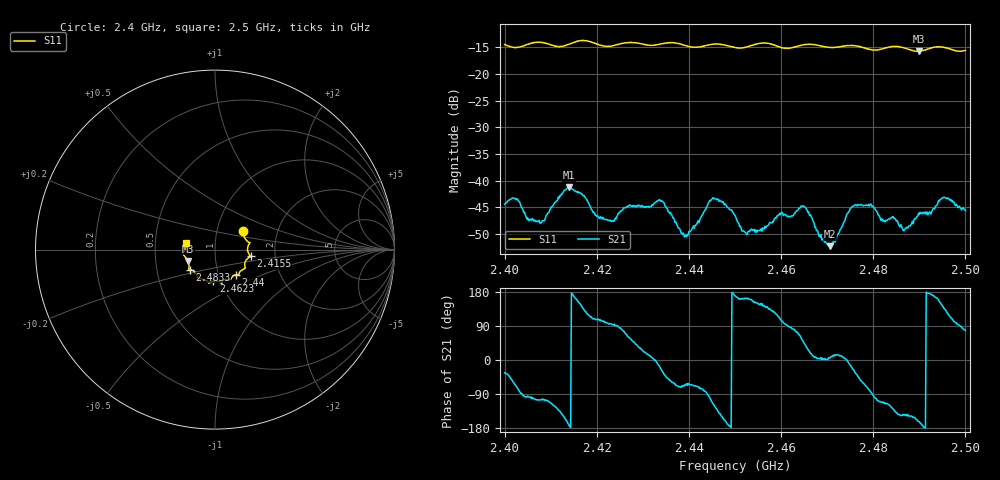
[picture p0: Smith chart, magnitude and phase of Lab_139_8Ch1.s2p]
# Hz S RI R 50
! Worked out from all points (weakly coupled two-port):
!   601 points, 2.4 GHz to 2.5 GHz, reference 50 ohm
!   highest |S21| = -41.21 dB at 2.414 GHz (marker M1); lowest = -52.3 dB at 2.4707 GHz (marker M2)
!   lowest |S11| = -15.7 dB at 2.4898 GHz (marker M3), VSWR 1.39, Z = 36.6 - j4.73 ohm
!   |S11| at or under -10 dB: start of sweep to end of sweep
!   S12 and S22 are empty: the file has one direction only
!   S11 on the Smith chart (normalised r, x): 2.4 GHz: 1.33, +0.29; 2.4155 GHz: 1.49, -0.11; 2.44 GHz: 1.21, -0.35; 2.4623 GHz: 0.92, -0.34; 2.4833 GHz: 0.74, -0.17; 2.5 GHz: 0.72, +0.05
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2.4e9  0.1564 0.1061  0.00501 -0.00335  0 0  0 0
2.402333e9  0.1625 0.0702  0.00282 -0.00619  0 0  0 0
2.408167e9  0.1943 0.0371  -0.000934 -0.00411  0 0  0 0
2.414e9  0.1893 -0.025  -0.00863 -0.00106  0 0  0 0
2.4155e9  0.1985 -0.0365  -0.00749 0.00247  0 0  0 0
2.416667e9  0.2024 -0.0406  -0.00595 0.00458  0 0  0 0
2.423167e9  0.1657 -0.078  -0.000373 0.00413  0 0  0 0
2.433333e9  0.134 -0.134  0.00636 -0.00135  0 0  0 0
2.44e9  0.1155 -0.1398  0.00148 -0.00301  0 0  0 0
2.445e9  0.0855 -0.1696  -0.00241 -0.00627  0 0  0 0
2.45e9  0.0637 -0.1657  -0.00466 0.000863  0 0  0 0
2.452667e9  0.0411 -0.1752  -0.00299 0.000993  0 0  0 0
2.462333e9  -0.00861 -0.1761  0.000603 0.00466  0 0  0 0
2.464833e9  -0.0297 -0.1858  0.00385 0.00432  0 0  0 0
2.466667e9  -0.0336 -0.187  0.00438 0.00107  0 0  0 0
2.470667e9  -0.0551 -0.1688  0.00242 0.000268  0 0  0 0
2.475833e9  -0.0931 -0.1595  0.0052 -0.00265  0 0  0 0
2.483333e9  -0.1399 -0.1113  -0.00201 -0.00388  0 0  0 0
2.487e9  -0.1446 -0.0972  -0.00294 -0.002  0 0  0 0
2.489833e9  -0.1508 -0.0628  -0.00473 -0.0015  0 0  0 0
2.495333e9  -0.177 -0.0187  -0.00507 0.00475  0 0  0 0
2.5e9  -0.1626 0.0371  0.00103 0.00516  0 0  0 0
